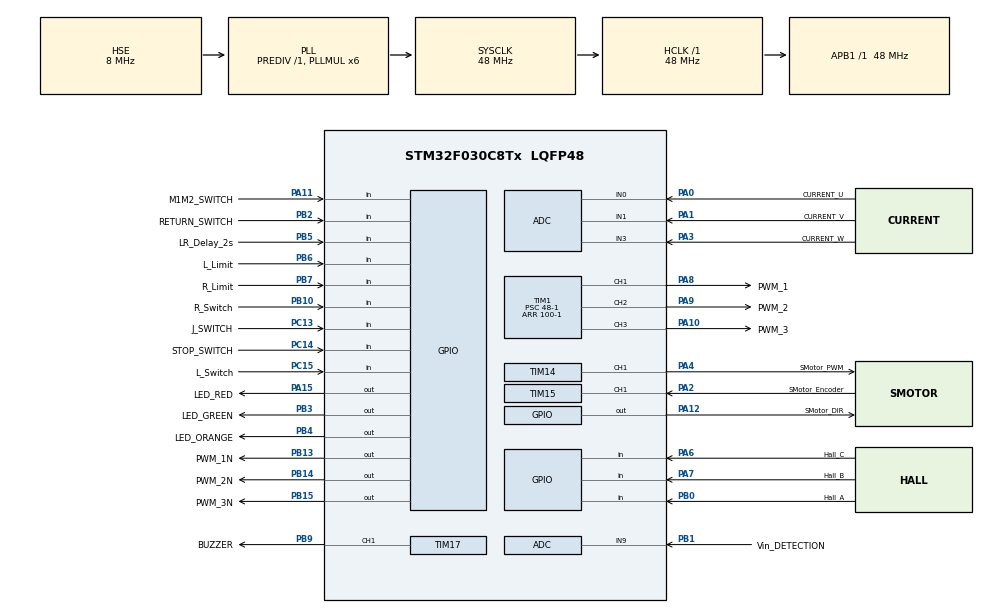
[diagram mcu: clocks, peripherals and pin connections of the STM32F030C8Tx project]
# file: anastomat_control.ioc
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Mcu.Family=STM32F0
Mcu.Name=STM32F030C8Tx
Mcu.Package=LQFP48
NVIC.TIM1_BRK_UP_TRG_COM_IRQn=true\:0\:0\:false\:false\:true\:true\:true\:true
PA0.GPIO_Label=CURRENT_U
PA0.Mode=IN0
PA0.Signal=ADC_IN0
PA1.GPIO_Label=CURRENT_V
PA1.Mode=IN1
PA1.Signal=ADC_IN1
PA10.GPIO_Label=PWM_3
PA10.Signal=S_TIM1_CH3
PA11.GPIO_Label=M1M2_SWITCH
PA11.Signal=GPIO_Input
PA12.GPIO_Label=SMotor_DIR
PA12.Signal=GPIO_Output
PA13.Mode=Serial_Wire
PA13.Signal=SYS_SWDIO
PA14.Mode=Serial_Wire
PA14.Signal=SYS_SWCLK
PA15.GPIO_Label=LED_RED
PA15.Signal=GPIO_Output
PA2.GPIO_Label=SMotor_Encoder
PA2.Signal=S_TIM15_CH1
PA3.GPIO_Label=CURRENT_W
PA3.Mode=IN3
PA3.Signal=ADC_IN3
PA4.GPIO_Label=SMotor_PWM
PA4.Signal=S_TIM14_CH1
PA6.GPIO_Label=Hall_C
PA6.Signal=GPIO_Input
PA7.GPIO_Label=Hall_B
PA7.Signal=GPIO_Input
PA8.GPIO_Label=PWM_1
PA8.Signal=S_TIM1_CH1
PA9.GPIO_Label=PWM_2
PA9.Signal=S_TIM1_CH2
PB0.GPIO_Label=Hall_A
PB0.Signal=GPIO_Input
PB1.GPIO_Label=Vin_DETECTION
PB1.Mode=IN9
PB1.Signal=ADC_IN9
PB10.GPIO_Label=R_Switch
PB10.Signal=GPIO_Input
PB13.GPIO_Label=PWM_1N
PB13.Signal=GPIO_Output
PB14.GPIO_Label=PWM_2N
PB14.Signal=GPIO_Output
PB15.GPIO_Label=PWM_3N
PB15.Signal=GPIO_Output
PB2.GPIO_Label=RETURN_SWITCH
PB2.Signal=GPIO_Input
PB3.GPIO_Label=LED_GREEN
PB3.Signal=GPIO_Output
PB4.GPIO_Label=LED_ORANGE
PB4.Signal=GPIO_Output
PB5.GPIO_Label=LR_Delay_2s
PB5.Signal=GPIO_Input
PB6.GPIO_Label=L_Limit
PB6.Signal=GPIO_Input
PB7.GPIO_Label=R_Limit
PB7.Signal=GPIO_Input
PB9.GPIO_Label=BUZZER
PB9.Signal=S_TIM17_CH1
PC13.GPIO_Label=J_SWITCH
PC13.Signal=GPIO_Input
PC14-OSC32_IN.GPIO_Label=STOP_SWITCH
PC14-OSC32_IN.Signal=GPIO_Input
PC15-OSC32_OUT.GPIO_Label=L_Switch
PC15-OSC32_OUT.Signal=GPIO_Input
PF0-OSC_IN.Mode=HSE-External-Oscillator
PF0-OSC_IN.Signal=RCC_OSC_IN
PF1-OSC_OUT.Mode=HSE-External-Oscillator
PF1-OSC_OUT.Signal=RCC_OSC_OUT
ProjectManager.HeapSize=0x200
ProjectManager.StackSize=0x400
ProjectManager.TargetToolchain=MDK-ARM V5.32
RCC.AHBFreq_Value=48000000
RCC.APB1Freq_Value=48000000
RCC.APB1TimFreq_Value=48000000
RCC.HCLKFreq_Value=48000000
RCC.PLLMUL=RCC_PLL_MUL6
RCC.PLLSourceVirtual=RCC_PLLSOURCE_HSE
RCC.SYSCLKFreq_VALUE=48000000
RCC.SYSCLKSource=RCC_SYSCLKSOURCE_PLLCLK
SH.S_TIM14_CH1.0=TIM14_CH1,PWM Generation1 CH1
SH.S_TIM15_CH1.0=TIM15_CH1,Input_Capture1_from_TI1
SH.S_TIM17_CH1.0=TIM17_CH1,PWM Generation1 CH1
SH.S_TIM1_CH1.0=TIM1_CH1,PWM Generation1 CH1
SH.S_TIM1_CH2.0=TIM1_CH2,PWM Generation2 CH2
SH.S_TIM1_CH3.0=TIM1_CH3,PWM Generation3 CH3
TIM1.AutoReloadPreload=TIM_AUTORELOAD_PRELOAD_DISABLE
TIM1.Channel-PWM\ Generation1\ CH1=TIM_CHANNEL_1
TIM1.Channel-PWM\ Generation2\ CH2=TIM_CHANNEL_2
TIM1.Channel-PWM\ Generation3\ CH3=TIM_CHANNEL_3
TIM1.Period=100-1
TIM1.Prescaler=48-1
TIM1.Pulse-PWM\ Generation1\ CH1=80
TIM1.Pulse-PWM\ Generation2\ CH2=80
TIM1.Pulse-PWM\ Generation3\ CH3=80
TIM14.Channel=TIM_CHANNEL_1
TIM14.Period=100-1
TIM14.Prescaler=48-1
TIM14.Pulse=80-1
TIM15.Channel-Input_Capture1_from_TI1=TIM_CHANNEL_1
TIM17.Channel=TIM_CHANNEL_1
TIM17.Period=371
TIM17.Prescaler=48-1
TIM17.Pulse=297
VP_TIM14_VS_ClockSourceINT.Mode=Enable_Timer
VP_TIM15_VS_ClockSourceINT.Mode=Internal
VP_TIM16_VS_ClockSourceINT.Mode=Enable_Timer
VP_TIM17_VS_ClockSourceINT.Mode=Enable_Timer
VP_TIM1_VS_ClockSourceINT.Mode=Internal
board=custom

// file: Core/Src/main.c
/* USER CODE BEGIN Header */
/**
  ******************************************************************************
  * @file           : main.c
  * @brief          : Main program body
  ******************************************************************************
  * @attention
  *
  * Copyright (c) 2022 STMicroelectronics.
  * All rights reserved.
  *
  * This software is licensed under terms that can be found in the LICENSE file
  * in the root directory of this software component.
  * If no LICENSE file comes with this software, it is provided AS-IS.
  *
  ******************************************************************************
  */
/* USER CODE END Header */
#include "main.h"
#include "adc.h"
#include "tim.h"
#include "gpio.h"

/* USER CODE BEGIN Includes */
#include "event.h"
#include "key_handle.h"
#include "timer.h"
#include "msg.h"
#include "key.h"
#include "motor.h"
#include "flash.h"
/* USER CODE END Includes */

void SystemClock_Config(void);

/* USER CODE BEGIN 0 */

static void main_init_event_handler(void)
{
	event_set_handler(kEventNewTick, timer_handle_all);
	// event_set_handler(kEventPCUartReceiveNewData, main_handle_pc_uart_recv);
  // event_set_handler(kEventBTUartReceiveNewData, main_handle_bt_uart_recv);
  // event_set_handler(kEventMCUUartReceiveNewData, main_handle_mcu_uart_recv);
}

void reach_lifetime_limit(MsgParam param)
{
#ifdef __DEBUG

#else

  m1_motor_stop();
  m2_motor_stop();
  g_m1_motor_is_lifetime_enable = false;
  g_m2_motor_is_lifetime_enable = false;

#endif
}

bool main_handle_all(void)
{
	bool ret = false;

	for (int i = 0; i < kEventIDMax; i++)
	{
		if (event_is_set((EventID)i))
		{
			event_clear((EventID)i);
			event_handle((EventID)i);
			ret = true;
		}
	}

	return ret;
}

// HAL_GPIO_WritePin(LED_ORANGE_GPIO_Port, LED_ORANGE_Pin, GPIO_PIN_SET);

/* USER CODE END 0 */

int main(void)
{

  /* MCU Configuration--------------------------------------------------------*/

  /* Reset of all peripherals, Initializes the Flash interface and the Systick. */
  HAL_Init();

  /* Configure the system clock */
  SystemClock_Config();

  /* Initialize all configured peripherals */
  MX_GPIO_Init();
  MX_ADC_Init();
  MX_TIM1_Init();
  MX_TIM14_Init();
  MX_TIM15_Init();
  MX_TIM16_Init();
  MX_TIM17_Init();
  /* USER CODE BEGIN 2 */

  msg_init();
  main_init_event_handler();
  flash_init();
  buzzer(2);
  // msg_set_handler(kMsgReachLifetimeLimit, reach_lifetime_limit);
  key_init();
  set_key_handler();
  // key_start_scan();

  timer_set_handler(kTimerDelay, key_start_scan);
  m2_motor_init();
  timer_start_oneshot_after(kTimerDelay, 200);

  // HAL_TIM_Base_Start_IT(&htim1);

  /* USER CODE END 2 */

  /* Infinite loop */
  /* USER CODE BEGIN WHILE */
  while (1)
  {
    main_handle_all();

    /* USER CODE END WHILE */

  }
}

void SystemClock_Config(void)
{
  RCC_OscInitTypeDef RCC_OscInitStruct = {0};
  RCC_ClkInitTypeDef RCC_ClkInitStruct = {0};

  /** Initializes the RCC Oscillators according to the specified parameters
  * in the RCC_OscInitTypeDef structure.
  */
  RCC_OscInitStruct.OscillatorType = RCC_OSCILLATORTYPE_HSI14|RCC_OSCILLATORTYPE_HSE;
  RCC_OscInitStruct.HSEState = RCC_HSE_ON;
  RCC_OscInitStruct.HSI14State = RCC_HSI14_ON;
  RCC_OscInitStruct.HSI14CalibrationValue = 16;
  RCC_OscInitStruct.PLL.PLLState = RCC_PLL_ON;
  RCC_OscInitStruct.PLL.PLLSource = RCC_PLLSOURCE_HSE;
  RCC_OscInitStruct.PLL.PLLMUL = RCC_PLL_MUL6;
  RCC_OscInitStruct.PLL.PREDIV = RCC_PREDIV_DIV1;
  if (HAL_RCC_OscConfig(&RCC_OscInitStruct) != HAL_OK)
  {
    Error_Handler();
  }

  /** Initializes the CPU, AHB and APB buses clocks
  */
  RCC_ClkInitStruct.ClockType = RCC_CLOCKTYPE_HCLK|RCC_CLOCKTYPE_SYSCLK
                              |RCC_CLOCKTYPE_PCLK1;
  RCC_ClkInitStruct.SYSCLKSource = RCC_SYSCLKSOURCE_PLLCLK;
  RCC_ClkInitStruct.AHBCLKDivider = RCC_SYSCLK_DIV1;
  RCC_ClkInitStruct.APB1CLKDivider = RCC_HCLK_DIV1;

  if (HAL_RCC_ClockConfig(&RCC_ClkInitStruct, FLASH_LATENCY_1) != HAL_OK)
  {
    Error_Handler();
  }
}

void Error_Handler(void)
{
  __disable_irq();
  while (1)
  {
  }
}
